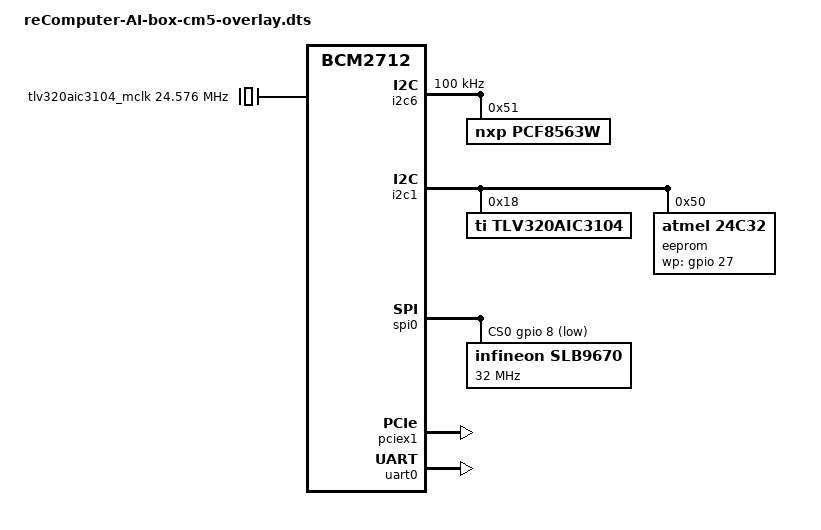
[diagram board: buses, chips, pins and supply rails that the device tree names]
/*
 * Copyright (C) 2021 Seeed Studio
 * ruiqian <ruiqian.tang@seeed.cc>
 *
 * MIT License
 *
 */
 /dts-v1/;
 /plugin/;

 #include "dt-bindings/gpio/gpio.h"

 / {
	compatible = "brcm,bcm2835", "brcm,bcm2708", "brcm,bcm2709", "brcm,bcm2711", "brcm,bcm2712";

	fragment@0 {
        target-path="/";
        __overlay__ {
            hardware = "reComputer AI BOX -cm5 V1.0";
        };
    };

	fragment@1 {
		target-path="/";
		__overlay__ {
			tlv320aic3104_mclk: tlv320aic3104_mclk {
				#clock-cells = <0>;
				compatible = "fixed-clock";
				clock-frequency = <24576000>;
			};
		};
	};

	fragment@4 {
		target = <&i2c6>;
		__overlay__ {
			status = "okay";
			pinctrl-0 = <&rp1_i2c6_38_39>;
			pinctrl-names = "default";
			clock-frequency = <100000>;
			#address-cells = <1>;
			#size-cells = <0>;
			
			pcf8563w@51 {
				compatible = "nxp,pcf8563w";
				reg = <0x51>;
				reset-source;
				/* 0 = 4096Hz, 1 = 64Hz, 2 = 1Hz, 3 = 1/60Hz */
				timer-frequency = <0x02>;
				/* Timeout count, max 255 min 2*/
				default-timeout =  <120>;
				min-hw-heartbeat-ms = <2000>;
			};
		};
	};

	fragment@5 {
		target = <&i2c1>;
		__overlay__ {
			#address-cells = <1>;
			#size-cells = <0>;
			status = "okay";
			
			tlv320aic3104: tlv320aic3104@18 {
				#sound-dai-cells = <0>;
				compatible = "ti,tlv320aic3104";
				reg = <0x18>;
				ai3x-micbias-vg = <2>;// set MICBIAS to 2.5v
			};

			eeprom@50 {
				compatible = "atmel,24c32";
				reg = <0x50>;
				wp-gpios = <&gpio 27 GPIO_ACTIVE_HIGH>;
			};
		};
	};

	fragment@6 {
		target = <&gpio>;
		__overlay__ {
			spi4_cs_pins: spi14_cs_pins {
				brcm,pins = <8>;
				brcm,function = <1>; /* output */
			};
		};
	};

	fragment@7 {
		target = <&spidev0>;
		__overlay__ {
			status = "disabled";
		};
	};

	fragment@8 {
		target = <&spidev1>;
		__overlay__ {
			status = "disabled";
		};
	};

	fragment@9 {
		target = <&spi0_cs_pins>;
		__overlay__ {
			brcm,pins = <8>;
		};
	};

	fragment@10 {
		target = <&spi0>;
		__overlay__ {
			/* needed to avoid dtc warning */
			#address-cells = <1>;
			#size-cells = <0>;
			pinctrl-names = "default";
			cs-gpios = <&gpio 8 1>;
			status = "okay";

			slb9670: slb9670@0 {
				compatible = "infineon,slb9670";
				reg = <0>;	/* CE0 */
				#address-cells = <1>;
				#size-cells = <0>;
				spi-max-frequency = <32000000>;
				status = "okay";
			};
		};
	};

	fragment@11 {
		target = <&i2s_clk_consumer>;
		__overlay__ {
			status = "okay";
		};
	};

	fragment@12 {
		target = <&sound>;
		slave_overlay: __overlay__ {
			compatible = "simple-audio-card";
			simple-audio-card,format = "i2s";
			simple-audio-card,name = "seeed2micvoicec";
			i2s-controller = <&i2s_clk_consumer>;
			status = "okay";
			
			simple-audio-card,widgets =
			"Headphone", "Headphone Jack",
			"Line", "Line In";
			simple-audio-card,routing =
			"Headphone Jack",       "HPLOUT",
			"Headphone Jack",       "HPROUT",
			"LINE1L",               "Line In",
			"LINE1R",               "Line In";
			
			simple-audio-card,bitclock-master = <&sound_master>;
			simple-audio-card,frame-master = <&sound_master>;
			
			simple-audio-card,cpu {
				sound-dai = <&i2s_clk_consumer>;
			};
			sound_master: simple-audio-card,codec {
				#sound-dai-cells = <0>;
				sound-dai = <&tlv320aic3104>;
				clocks = <&tlv320aic3104_mclk>;
				clock-names = "mclk";
			};
		};
	};
	fragment@13 {
		target = <&pciex1>;
		__overlay__ {
			max-link-speed = <3>;
			status = "okay";
		};
	};

	fragment@14 {
		target = <&uart0>;
		__overlay__ {
			status = "okay";
		};
	};
};	
